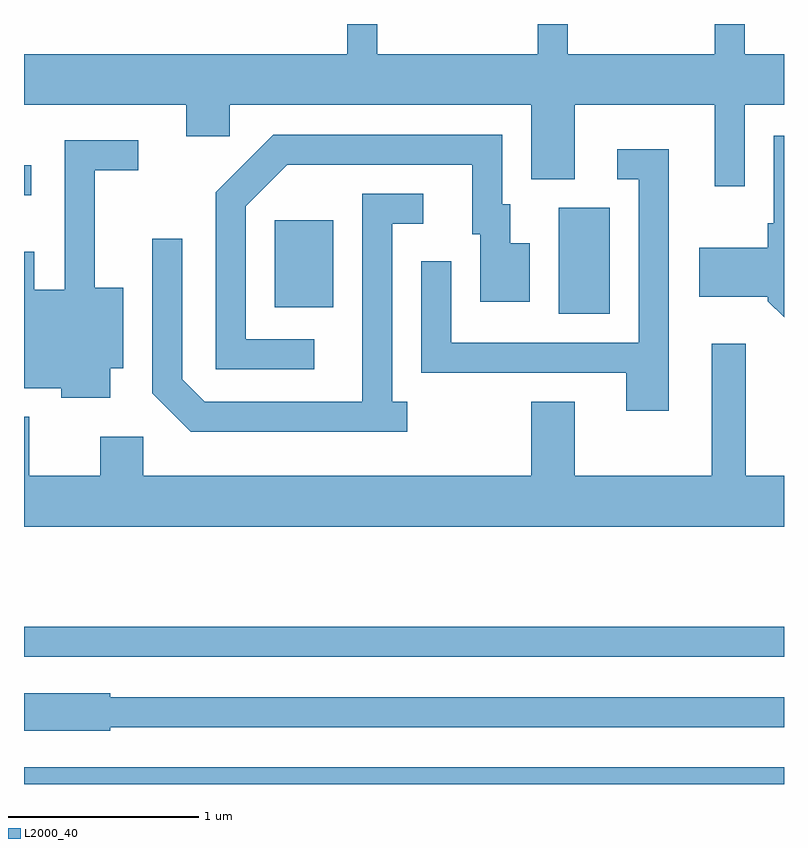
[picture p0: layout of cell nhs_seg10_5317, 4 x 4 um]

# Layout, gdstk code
import gdstk
lib = gdstk.Library(unit=1e-6, precision=1e-09)
def R(c, l, rs):  # rectangles x0, y0, x1, y1
    for r in rs: c.add(gdstk.rectangle(r[:2], r[2:], *l))
def P(c, l, *ps):  # polygons
    for p in ps: c.add(gdstk.Polygon(p, *l))
L2000_40 = (2000, 40)

nhs_seg10_5317 = lib.new_cell('nhs_seg10_5317')
R(nhs_seg10_5317, L2000_40, [(341.611,2152.522,345.611,2152.609), (341.611,2153.191,345.611,2153.349), (344.426,2154.996,344.694,2155.554), (342.931,2155.031,343.239,2155.489), (341.611,2155.621,341.648,2155.779), (341.611,2156.521,342.703,2156.522)])
P(nhs_seg10_5317, L2000_40, [(345.404,2156.096),(345.611,2156.096),(345.611,2156.364),(345.404,2156.364),(345.404,2156.522),(345.246,2156.522),(345.246,2156.364),(344.474,2156.364),(344.474,2156.522),(344.316,2156.522),(344.316,2156.364),(343.469,2156.364),(343.469,2156.522),(343.311,2156.522),(343.311,2156.364),(341.611,2156.364),(341.611,2156.096),(342.466,2156.096),(342.466,2155.931),(342.694,2155.931),(342.694,2156.096),(344.281,2156.096),(344.281,2155.706),(344.509,2155.706),(344.509,2156.096),(345.246,2156.096),(345.246,2155.668),(345.404,2155.668)],
  [(343.138,2154.864),(342.779,2154.864),(342.779,2155.564),(342.997,2155.781),(343.971,2155.781),(343.971,2155.416),(344.011,2155.416),(344.011,2155.061),(344.274,2155.061),(344.274,2155.369),(344.169,2155.369),(344.169,2155.574),(344.129,2155.574),(344.129,2155.939),(342.924,2155.939),(342.621,2155.637),(342.621,2154.706),(343.138,2154.706)],
  [(345.611,2155.934),(345.556,2155.934),(345.556,2155.474),(345.526,2155.474),(345.526,2155.344),(345.166,2155.344),(345.166,2155.086),(345.526,2155.086),(345.526,2155.064),(345.611,2154.979)],
  [(342.064,2154.711),(342.134,2154.711),(342.134,2155.134),(341.984,2155.134),(341.984,2155.751),(342.213,2155.751),(342.213,2155.909),(341.826,2155.909),(341.826,2155.124),(341.664,2155.124),(341.664,2155.324),(341.611,2155.324),(341.611,2154.606),(341.806,2154.606),(341.806,2154.556),(342.064,2154.556)],
  [(345.004,2155.864),(344.733,2155.864),(344.733,2155.706),(344.846,2155.706),(344.846,2154.844),(343.859,2154.844),(343.859,2155.273),(343.701,2155.273),(343.701,2154.686),(344.781,2154.686),(344.781,2154.486),(345.004,2154.486)],
  [(343.628,2154.534),(343.549,2154.534),(343.549,2155.471),(343.713,2155.471),(343.713,2155.629),(343.391,2155.629),(343.391,2154.534),(342.562,2154.534),(342.444,2154.652),(342.444,2155.393),(342.286,2155.393),(342.286,2154.579),(342.489,2154.376),(343.628,2154.376)],
  [(345.611,2154.144),(345.409,2154.144),(345.409,2154.839),(345.231,2154.839),(345.231,2154.144),(344.509,2154.144),(344.509,2154.534),(344.281,2154.534),(344.281,2154.144),(342.239,2154.144),(342.239,2154.349),(342.011,2154.349),(342.011,2154.144),(341.639,2154.144),(341.639,2154.454),(341.611,2154.454),(341.611,2153.876),(345.611,2153.876)],
  [(342.064,2152.821),(345.611,2152.821),(345.611,2152.979),(342.064,2152.979),(342.064,2152.999),(341.611,2152.999),(341.611,2152.801),(342.064,2152.801)])

lib.write_gds('nhs_seg10_5317.gds')
